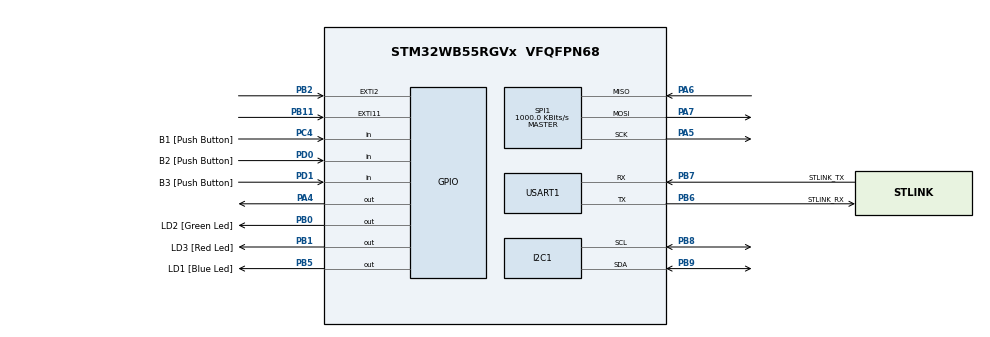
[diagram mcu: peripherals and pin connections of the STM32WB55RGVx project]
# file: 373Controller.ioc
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I2C1.Timing=0x00B07CB4
Mcu.Family=STM32WB
Mcu.Name=STM32WB55RGVx
Mcu.Package=VFQFPN68
NVIC.EXTI15_10_IRQn=true\:2\:0\:true\:false\:true\:true\:true\:true
NVIC.EXTI2_IRQn=true\:2\:0\:true\:false\:true\:true\:true\:true
NVIC.PriorityGroup=NVIC_PRIORITYGROUP_4
NVIC.TIM2_IRQn=true\:4\:0\:true\:false\:true\:true\:true\:true
OSC_IN.GPIO_Label=RCC_OSC_IN
OSC_IN.Signal=RCC_OSC_IN
OSC_OUT.GPIO_Label=RCC_OSC_OUT
OSC_OUT.Signal=RCC_OSC_OUT
PA11.GPIO_Label=USB_DM
PA11.Signal=USB_DM
PA12.GPIO_Label=USB_DP
PA12.Signal=USB_DP
PA13.GPIO_Label=JTMS
PA13.Signal=SYS_JTMS-SWDIO
PA14.GPIO_Label=JTCK
PA14.Signal=SYS_JTCK-SWCLK
PA4.PinState=GPIO_PIN_SET
PA4.Signal=GPIO_Output
PA5.Mode=Full_Duplex_Master
PA5.Signal=SPI1_SCK
PA6.Mode=Full_Duplex_Master
PA6.Signal=SPI1_MISO
PA7.Mode=Full_Duplex_Master
PA7.Signal=SPI1_MOSI
PB0.GPIO_Label=LD2 [Green Led]
PB0.Signal=GPIO_Output
PB1.GPIO_Label=LD3 [Red Led]
PB1.Signal=GPIO_Output
PB11.GPIO_ModeDefaultEXTI=GPIO_MODE_IT_RISING_FALLING
PB11.GPIO_PuPd=GPIO_PULLUP
PB11.Signal=GPXTI11
PB2.GPIO_ModeDefaultEXTI=GPIO_MODE_IT_RISING_FALLING
PB2.GPIO_PuPd=GPIO_PULLUP
PB2.Signal=GPXTI2
PB3.GPIO_Label=JTDO
PB3.Signal=SYS_JTDO-SWO
PB5.GPIO_Label=LD1 [Blue Led]
PB5.Signal=GPIO_Output
PB6.GPIO_Label=STLINK_RX
PB6.Mode=Asynchronous
PB6.Signal=USART1_TX
PB7.GPIO_Label=STLINK_TX
PB7.Mode=Asynchronous
PB7.Signal=USART1_RX
PB8.Mode=I2C
PB8.Signal=I2C1_SCL
PB9.Mode=I2C
PB9.Signal=I2C1_SDA
PC13.GPIO_Label=SYS_WKUP2
PC13.Signal=SYS_WKUP2
PC14-OSC32_IN.GPIO_Label=RCC_OSC32_IN
PC14-OSC32_IN.Signal=RCC_OSC32_IN
PC15-OSC32_OUT.GPIO_Label=RCC_OSC32_OUT
PC15-OSC32_OUT.Signal=RCC_OSC32_OUT
PC4.GPIO_Label=B1 [Push Button]
PC4.Signal=GPIO_Input
PD0.GPIO_Label=B2 [Push Button]
PD0.Signal=GPIO_Input
PD1.GPIO_Label=B3 [Push Button]
PD1.Signal=GPIO_Input
ProjectManager.HeapSize=0x200
ProjectManager.StackSize=0x400
ProjectManager.TargetToolchain=STM32CubeIDE
RCC.ADCFreq_Value=128000000
RCC.AHBFreq_Value=32000000
RCC.APB1Freq_Value=32000000
RCC.APB1TimFreq_Value=32000000
RCC.APB2Freq_Value=32000000
RCC.APB2TimFreq_Value=32000000
RCC.APB3Freq_Value=16000000
RCC.CortexFreq_Value=32000000
RCC.HCLKFreq_Value=32000000
RCC.HSE_VALUE=32000000
RCC.HSI48_VALUE=48000000
RCC.HSI_VALUE=16000000
RCC.LSE_VALUE=32768
RCC.MSIClockRange=RCC_MSIRANGE_10
RCC.SMPSCLockSelection=RCC_SMPSCLKSOURCE_HSI
RCC.SMPSCLockSelectionVirtual=RCC_SMPSCLKSOURCE_HSI
RCC.SMPSCLockSelectionVirtualVirtual=RCC_SMPSCLKSOURCE_HSI
RCC.SMPSDivider=1
RCC.SYSCLKFreq_VALUE=32000000
RCC.USBFreq_Value=128000000
RCC.VCOOutputFreq_Value=256000000
SPI1.BaudRatePrescaler=SPI_BAUDRATEPRESCALER_32
SPI1.CalculateBaudRate=1000.0 KBits/s
SPI1.DataSize=SPI_DATASIZE_8BIT
SPI1.Direction=SPI_DIRECTION_2LINES
SPI1.Mode=SPI_MODE_MASTER
SPI1.VirtualType=VM_MASTER
TIM2.AutoReloadPreload=TIM_AUTORELOAD_PRELOAD_ENABLE
TIM2.Period=99
TIM2.Prescaler=3199
USART1.VirtualMode-Asynchronous=VM_ASYNC
VP_MEMORYMAP_VS_MEMORYMAP.Mode=CurAppReg
VP_TIM2_VS_ClockSourceINT.Mode=Internal
board=NUCLEO-WB55RG

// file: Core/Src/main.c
/* USER CODE BEGIN Header */
/**
  ******************************************************************************
  * @file           : main.c
  * @brief          : Main program body
  ******************************************************************************
  * @attention
  *
  * Copyright (c) 2026 STMicroelectronics.
  * All rights reserved.
  *
  * This software is licensed under terms that can be found in the LICENSE file
  * in the root directory of this software component.
  * If no LICENSE file comes with this software, it is provided AS-IS.
  *
  ******************************************************************************
  */
/* USER CODE END Header */
#include "main.h"

/* USER CODE BEGIN Includes */
#include <stdio.h>
#include <math.h>
#include "MadgwickAHRS.h"
/* USER CODE END Includes */

/* USER CODE BEGIN PTD */
enum State {
	STATE_NONE,
	STATE_INIT,
	STATE_CONNECT,
	STATE_CALIBRATION,
	STATE_MENU,
	STATE_OPERATION
};

typedef struct {
	int16_t x, y, z;
} XYZ;

typedef struct {
	float w,x,y,z;
} Quaternion;
/* USER CODE END PTD */

I2C_HandleTypeDef hi2c1;

SPI_HandleTypeDef hspi1;

TIM_HandleTypeDef htim2;

UART_HandleTypeDef huart1;

/* USER CODE BEGIN PV */

enum State state = STATE_INIT;
enum State prev_state = STATE_NONE;

uint8_t spi1_rx_buffer[100] = {0};
uint8_t spi1_tx_buffer[100] = {0};
Quaternion q;
/* USER CODE END PV */

void SystemClock_Config(void);
void PeriphCommonClock_Config(void);
static void MX_GPIO_Init(void);
static void MX_SPI1_Init(void);
static void MX_USART1_UART_Init(void);
static void MX_TIM2_Init(void);
static void MX_I2C1_Init(void);
/* USER CODE BEGIN PFP */

#define LCD_ADDR  (0x27 << 1)
#define LCD_BL    0x08  // backlight
#define LCD_EN    0x04
#define LCD_RW    0x02
#define LCD_RS    0x01

/* USER CODE END PFP */

/* USER CODE BEGIN 0 */

// - begin bmi

#define SPI1_GPIOX GPIOA
#define SPI1_CS GPIO_PIN_4

void BMI323_Read(uint8_t register_address, uint8_t size) {
	  spi1_tx_buffer[0] = 0x80 | register_address;
	  spi1_tx_buffer[1] = 0;

	  for(int i=0;i<2*size;i++)
		  spi1_tx_buffer[2+i]=0;

	  HAL_GPIO_WritePin(SPI1_GPIOX, SPI1_CS, GPIO_PIN_RESET);
	  HAL_SPI_TransmitReceive(&hspi1, spi1_tx_buffer, spi1_rx_buffer, 2+2*size, 1000);
	  HAL_GPIO_WritePin(SPI1_GPIOX, SPI1_CS, GPIO_PIN_SET);
}

void BMI323_Write(uint8_t register_address, uint8_t size, uint8_t *data) {
	spi1_tx_buffer[0] = register_address;

	for(int i=0;i<size;i++)
	    {
			spi1_tx_buffer[2*i+1]=data[2*i];
			spi1_tx_buffer[2*i+2]=data[2*i+1];
	    }

	HAL_GPIO_WritePin(SPI1_GPIOX, SPI1_CS, GPIO_PIN_RESET);
	HAL_SPI_Transmit(&hspi1, spi1_tx_buffer, 1+2*size, 1000);
	HAL_GPIO_WritePin(SPI1_GPIOX, SPI1_CS, GPIO_PIN_SET);
	HAL_Delay(1);
}

int16_t BMI323_Assemble(uint8_t start) {
	  return spi1_rx_buffer[2*start+2] | (spi1_rx_buffer[2*start+3] << 8);
}

void BMI323_Init() {
	HAL_GPIO_WritePin(SPI1_GPIOX, SPI1_CS, GPIO_PIN_RESET);
	HAL_Delay(1);
	HAL_GPIO_WritePin(SPI1_GPIOX, SPI1_CS, GPIO_PIN_SET);
	HAL_Delay(1); // toggling cs on init switches BMI to SPI mode

	uint8_t reset[2]={0xB6,0x00};

	BMI323_Write(0x7E,1,reset);

	HAL_Delay(20);

	// accel
	uint8_t acc[2]={0x08,0x70};
	BMI323_Write(0x20,1,acc);

	/* gyro  */
	uint8_t gyr[2]={0x18,0x70};
	BMI323_Write(0x21,1,gyr);

	HAL_Delay(500);
}

int BMI323_ConnectionTest() {
	BMI323_Read(0x00, 3);
	uint16_t chip_id = BMI323_Assemble(0) & 0xFF;
	uint16_t s_stat = BMI323_Assemble(2);

	if ((chip_id == 67) && ((s_stat & 0x01) == 0)) {
		return 1;
	}

	return 0;
}

void BMI323_ReadAccel(XYZ *data) {
	BMI323_Read(0x03, 3);
	data->x = (int16_t)BMI323_Assemble(0);
	data->y = (int16_t)BMI323_Assemble(1);
	data->z = (int16_t)BMI323_Assemble(2);
}

void BMI323_ReadGyro(XYZ* data) {
	BMI323_Read(0x06, 3);
	data->x = (int16_t)BMI323_Assemble(0);
	data->y = (int16_t)BMI323_Assemble(1);
	data->z = (int16_t)BMI323_Assemble(2);
}

void BMI323_Quaternion(Quaternion* q) {

	/*
	 * This function implements the Madgwick IMU sensor fusion algorithm,
	 * which is open source and can be obtained for free from:
	 * https://x-io.co.uk/open-source-imu-and-ahrs-algorithms/
	 */

	XYZ accel, gyro;
	BMI323_ReadAccel(&accel);
	BMI323_ReadGyro(&gyro);

	// convert a and g to normalized floats
	float ax = accel.x * (2.0f / 32768.0f);
	float ay = accel.y * (2.0f / 32768.0f);
	float az = accel.z * (2.0f / 32768.0f);

	float gx = gyro.x * (250.0f / 32768.0f) * (M_PI / 180.0f);
	float gy = gyro.y * (250.0f / 32768.0f) * (M_PI / 180.0f);
	float gz = gyro.z * (250.0f / 32768.0f) * (M_PI / 180.0f);

	MadgwickAHRSupdateIMU(gx, gy, gz, ax, ay, az);

	q->w = q0;
	q->x = q1;
	q->y = q2;
	q->z = q3;

}

void HAL_TIM_PeriodElapsedCallback(TIM_HandleTypeDef *htim) {
    if (htim->Instance == TIM2) {
    	BMI323_Quaternion(&q);
    }
}

// - end bmi

// - begin RE

// previous 2-bit state becomes the top 2 bits of the new state!
static volatile int RE_count = 0;
static int RE_prev = 0;

static const int RE_gray[16] = {
		0, -1, 1, 0,
		1, 0, 0, -1,
		-1, 0, 0, 1,
		0, 1, -1, 0
};

void RE_Update() {
	int a = (HAL_GPIO_ReadPin(GPIOB, GPIO_PIN_11) == GPIO_PIN_SET) ? 1 : 0;
	int b = (HAL_GPIO_ReadPin(GPIOB, GPIO_PIN_2) == GPIO_PIN_SET) ? 1 : 0;
	int RE_current = (a << 1) | b;
	int res = RE_gray[(RE_prev << 2) | RE_current];

	RE_count += res;
	RE_prev = RE_current;
}

void HAL_GPIO_EXTI_Callback(uint16_t GPIO_Pin) {
	if (GPIO_Pin == GPIO_PIN_11 || GPIO_Pin == GPIO_PIN_2) {
		RE_Update();
	}
}

// - end RE

// - begin display

static void LCD_write_pcf(uint8_t data)
{
    HAL_I2C_Master_Transmit(&hi2c1, LCD_ADDR, &data, 1, HAL_MAX_DELAY);
}

static void LCD_pulse_en(uint8_t data)
{
    LCD_write_pcf(data | LCD_EN);
    HAL_Delay(1);
    LCD_write_pcf(data & ~LCD_EN);
    HAL_Delay(1);
}

static void LCD_write_nibble(uint8_t data, uint8_t rs)
{
    uint8_t nibble = (data & 0xF0) | LCD_BL | rs;
    LCD_pulse_en(nibble);
}

/* sends a full byte as two nibbles */
static void LCD_send(uint8_t data, uint8_t rs)
{
    LCD_write_nibble(data,        rs);  // high nibble
    LCD_write_nibble(data << 4,   rs);  // low nibble
}

#define LCD_cmd(b)   LCD_send((b), 0x00)
#define LCD_data(b)  LCD_send((b), LCD_RS)

/* ── init ─────────────────────────────────────────────────── */

void LCD_init(void)
{
    HAL_Delay(50);                      // wait for LCD power-on

    // reset sequence:send 0x3 nibble three times to ensure 8-bit mode
    LCD_write_nibble(0x30, 0);  HAL_Delay(5);
    LCD_write_nibble(0x30, 0);  HAL_Delay(1);
    LCD_write_nibble(0x30, 0);  HAL_Delay(1);

    // switch to 4-bit mode
    LCD_write_nibble(0x20, 0);  HAL_Delay(1);

    // from here, full bytes as two nibbles
    LCD_cmd(0x28);   // function set:  4-bit | 2 lines | 5x8
    LCD_cmd(0x0C);   // display on, cursor off, blink off
    LCD_cmd(0x06);   // entry mode: increment, no shift
    LCD_cmd(0x01);   // clear display
    HAL_Delay(2);    // clear needs >1.5ms
}

void LCD_set_cursor(uint8_t col, uint8_t row)
{
    uint8_t row_offsets[] = {0x00, 0x40, 0x14, 0x54};  // was missing rows 2 and 3
    LCD_cmd(0x80 | (col + row_offsets[row]));
}

void LCD_print(const char *str)
{
    while (*str)
        LCD_data((uint8_t)*str++);
}

void LCD_Clear() {
	LCD_cmd(0x01);   // clear display
	HAL_Delay(2);    // clear needs >1.5ms
}

// - end display

// - begin SM

// - end SM

/* USER CODE END 0 */

int main(void)
{

  /* MCU Configuration--------------------------------------------------------*/

  /* Reset of all peripherals, Initializes the Flash interface and the Systick. */
  HAL_Init();

  /* Configure the system clock */
  SystemClock_Config();

  /* Configure the peripherals common clocks */
  PeriphCommonClock_Config();

  /* Initialize all configured peripherals */
  MX_GPIO_Init();
  MX_SPI1_Init();
  MX_USART1_UART_Init();
  MX_TIM2_Init();
  MX_I2C1_Init();
  /* USER CODE BEGIN 2 */

  BMI323_Init();
  int test = BMI323_ConnectionTest();
  while (test == 0) {
	  HAL_Delay(5);
	  test = BMI323_ConnectionTest();
  }

  uint32_t t1;
  t1 = HAL_GetTick();

  HAL_TIM_Base_Start_IT(&htim2);

  LCD_init();
  LCD_set_cursor(0, 0);
  LCD_print("Hello!");

  /* USER CODE END 2 */

  /* Infinite loop */
  while (1)
  {

    /* USER CODE BEGIN 3 */

	  if (HAL_GetTick() - t1 >= 1000) {

	          t1 = HAL_GetTick();
	          printf("q: %.4f %.4f %.4f %.4f\r\n", q0, q1, q2, q3);

	          char buffer[21];

              LCD_set_cursor(0, 0);
              sprintf(buffer, "w: %.4f", q0);
              LCD_print(buffer);

              LCD_set_cursor(0, 1);
              sprintf(buffer, "x: %.4f", q1);
              LCD_print(buffer);

              LCD_set_cursor(0, 2);
              sprintf(buffer, "y: %.4f", q2);
              LCD_print(buffer);

              LCD_set_cursor(0, 3);
              sprintf(buffer, "z: %.4f", q3);
              LCD_print(buffer);

              LCD_set_cursor(12, 2);
              sprintf(buffer, "count:");
              LCD_print(buffer);

              LCD_set_cursor(12, 3);
              sprintf(buffer, "%d", RE_count);
              LCD_print(buffer);

	  }

	  prev_state = state;
  }
  /* USER CODE END 3 */
}

void SystemClock_Config(void)
{
  RCC_OscInitTypeDef RCC_OscInitStruct = {0};
  RCC_ClkInitTypeDef RCC_ClkInitStruct = {0};

  /** Configure the main internal regulator output voltage
  */
  __HAL_PWR_VOLTAGESCALING_CONFIG(PWR_REGULATOR_VOLTAGE_SCALE1);

  /** Initializes the RCC Oscillators according to the specified parameters
  * in the RCC_OscInitTypeDef structure.
  */
  RCC_OscInitStruct.OscillatorType = RCC_OSCILLATORTYPE_HSI|RCC_OSCILLATORTYPE_MSI;
  RCC_OscInitStruct.HSIState = RCC_HSI_ON;
  RCC_OscInitStruct.MSIState = RCC_MSI_ON;
  RCC_OscInitStruct.HSICalibrationValue = RCC_HSICALIBRATION_DEFAULT;
  RCC_OscInitStruct.MSICalibrationValue = RCC_MSICALIBRATION_DEFAULT;
  RCC_OscInitStruct.MSIClockRange = RCC_MSIRANGE_10;
  RCC_OscInitStruct.PLL.PLLState = RCC_PLL_NONE;
  if (HAL_RCC_OscConfig(&RCC_OscInitStruct) != HAL_OK)
  {
    Error_Handler();
  }

  /** Configure the SYSCLKSource, HCLK, PCLK1 and PCLK2 clocks dividers
  */
  RCC_ClkInitStruct.ClockType = RCC_CLOCKTYPE_HCLK4|RCC_CLOCKTYPE_HCLK2
                              |RCC_CLOCKTYPE_HCLK|RCC_CLOCKTYPE_SYSCLK
                              |RCC_CLOCKTYPE_PCLK1|RCC_CLOCKTYPE_PCLK2;
  RCC_ClkInitStruct.SYSCLKSource = RCC_SYSCLKSOURCE_MSI;
  RCC_ClkInitStruct.AHBCLKDivider = RCC_SYSCLK_DIV1;
  RCC_ClkInitStruct.APB1CLKDivider = RCC_HCLK_DIV1;
  RCC_ClkInitStruct.APB2CLKDivider = RCC_HCLK_DIV1;
  RCC_ClkInitStruct.AHBCLK2Divider = RCC_SYSCLK_DIV1;
  RCC_ClkInitStruct.AHBCLK4Divider = RCC_SYSCLK_DIV1;

  if (HAL_RCC_ClockConfig(&RCC_ClkInitStruct, FLASH_LATENCY_1) != HAL_OK)
  {
    Error_Handler();
  }
}

void PeriphCommonClock_Config(void)
{
  RCC_PeriphCLKInitTypeDef PeriphClkInitStruct = {0};

  /** Initializes the peripherals clock
  */
  PeriphClkInitStruct.PeriphClockSelection = RCC_PERIPHCLK_SMPS;
  PeriphClkInitStruct.SmpsClockSelection = RCC_SMPSCLKSOURCE_HSI;
  PeriphClkInitStruct.SmpsDivSelection = RCC_SMPSCLKDIV_RANGE0;

  if (HAL_RCCEx_PeriphCLKConfig(&PeriphClkInitStruct) != HAL_OK)
  {
    Error_Handler();
  }
}

static void MX_I2C1_Init(void)
{

  hi2c1.Instance = I2C1;
  hi2c1.Init.Timing = 0x00B07CB4;
  hi2c1.Init.OwnAddress1 = 0;
  hi2c1.Init.AddressingMode = I2C_ADDRESSINGMODE_7BIT;
  hi2c1.Init.DualAddressMode = I2C_DUALADDRESS_DISABLE;
  hi2c1.Init.OwnAddress2 = 0;
  hi2c1.Init.OwnAddress2Masks = I2C_OA2_NOMASK;
  hi2c1.Init.GeneralCallMode = I2C_GENERALCALL_DISABLE;
  hi2c1.Init.NoStretchMode = I2C_NOSTRETCH_DISABLE;
  if (HAL_I2C_Init(&hi2c1) != HAL_OK)
  {
    Error_Handler();
  }

  /** Configure Analogue filter
  */
  if (HAL_I2CEx_ConfigAnalogFilter(&hi2c1, I2C_ANALOGFILTER_ENABLE) != HAL_OK)
  {
    Error_Handler();
  }

  /** Configure Digital filter
  */
  if (HAL_I2CEx_ConfigDigitalFilter(&hi2c1, 0) != HAL_OK)
  {
    Error_Handler();
  }

}

static void MX_SPI1_Init(void)
{

  /* SPI1 parameter configuration*/
  hspi1.Instance = SPI1;
  hspi1.Init.Mode = SPI_MODE_MASTER;
  hspi1.Init.Direction = SPI_DIRECTION_2LINES;
  hspi1.Init.DataSize = SPI_DATASIZE_8BIT;
  hspi1.Init.CLKPolarity = SPI_POLARITY_LOW;
  hspi1.Init.CLKPhase = SPI_PHASE_1EDGE;
  hspi1.Init.NSS = SPI_NSS_SOFT;
  hspi1.Init.BaudRatePrescaler = SPI_BAUDRATEPRESCALER_32;
  hspi1.Init.FirstBit = SPI_FIRSTBIT_MSB;
  hspi1.Init.TIMode = SPI_TIMODE_DISABLE;
  hspi1.Init.CRCCalculation = SPI_CRCCALCULATION_DISABLE;
  hspi1.Init.CRCPolynomial = 7;
  hspi1.Init.CRCLength = SPI_CRC_LENGTH_DATASIZE;
  hspi1.Init.NSSPMode = SPI_NSS_PULSE_ENABLE;
  if (HAL_SPI_Init(&hspi1) != HAL_OK)
  {
    Error_Handler();
  }

}

static void MX_TIM2_Init(void)
{

  TIM_ClockConfigTypeDef sClockSourceConfig = {0};
  TIM_MasterConfigTypeDef sMasterConfig = {0};

  htim2.Instance = TIM2;
  htim2.Init.Prescaler = 3199;
  htim2.Init.CounterMode = TIM_COUNTERMODE_UP;
  htim2.Init.Period = 99;
  htim2.Init.ClockDivision = TIM_CLOCKDIVISION_DIV1;
  htim2.Init.AutoReloadPreload = TIM_AUTORELOAD_PRELOAD_ENABLE;
  if (HAL_TIM_Base_Init(&htim2) != HAL_OK)
  {
    Error_Handler();
  }
  sClockSourceConfig.ClockSource = TIM_CLOCKSOURCE_INTERNAL;
  if (HAL_TIM_ConfigClockSource(&htim2, &sClockSourceConfig) != HAL_OK)
  {
    Error_Handler();
  }
  sMasterConfig.MasterOutputTrigger = TIM_TRGO_RESET;
  sMasterConfig.MasterSlaveMode = TIM_MASTERSLAVEMODE_DISABLE;
  if (HAL_TIMEx_MasterConfigSynchronization(&htim2, &sMasterConfig) != HAL_OK)
  {
    Error_Handler();
  }

}

static void MX_USART1_UART_Init(void)
{

  huart1.Instance = USART1;
  huart1.Init.BaudRate = 115200;
  huart1.Init.WordLength = UART_WORDLENGTH_8B;
  huart1.Init.StopBits = UART_STOPBITS_1;
  huart1.Init.Parity = UART_PARITY_NONE;
  huart1.Init.Mode = UART_MODE_TX_RX;
  huart1.Init.HwFlowCtl = UART_HWCONTROL_NONE;
  huart1.Init.OverSampling = UART_OVERSAMPLING_16;
  huart1.Init.OneBitSampling = UART_ONE_BIT_SAMPLE_DISABLE;
  huart1.Init.ClockPrescaler = UART_PRESCALER_DIV1;
  huart1.AdvancedInit.AdvFeatureInit = UART_ADVFEATURE_NO_INIT;
  if (HAL_UART_Init(&huart1) != HAL_OK)
  {
    Error_Handler();
  }
  if (HAL_UARTEx_SetTxFifoThreshold(&huart1, UART_TXFIFO_THRESHOLD_1_8) != HAL_OK)
  {
    Error_Handler();
  }
  if (HAL_UARTEx_SetRxFifoThreshold(&huart1, UART_RXFIFO_THRESHOLD_1_8) != HAL_OK)
  {
    Error_Handler();
  }
  if (HAL_UARTEx_DisableFifoMode(&huart1) != HAL_OK)
  {
    Error_Handler();
  }

}

static void MX_GPIO_Init(void)
{
  GPIO_InitTypeDef GPIO_InitStruct = {0};

  /* GPIO Ports Clock Enable */
  __HAL_RCC_GPIOC_CLK_ENABLE();
  __HAL_RCC_GPIOB_CLK_ENABLE();
  __HAL_RCC_GPIOA_CLK_ENABLE();
  __HAL_RCC_GPIOD_CLK_ENABLE();

  /*Configure GPIO pin Output Level */
  HAL_GPIO_WritePin(GPIOA, GPIO_PIN_4, GPIO_PIN_SET);

  /*Configure GPIO pin Output Level */
  HAL_GPIO_WritePin(GPIOB, LD2_Pin|LD3_Pin|LD1_Pin, GPIO_PIN_RESET);

  /*Configure GPIO pin : PA4 */
  GPIO_InitStruct.Pin = GPIO_PIN_4;
  GPIO_InitStruct.Mode = GPIO_MODE_OUTPUT_PP;
  GPIO_InitStruct.Pull = GPIO_NOPULL;
  GPIO_InitStruct.Speed = GPIO_SPEED_FREQ_LOW;
  HAL_GPIO_Init(GPIOA, &GPIO_InitStruct);

  /*Configure GPIO pin : B1_Pin */
  GPIO_InitStruct.Pin = B1_Pin;
  GPIO_InitStruct.Mode = GPIO_MODE_INPUT;
  GPIO_InitStruct.Pull = GPIO_NOPULL;
  HAL_GPIO_Init(B1_GPIO_Port, &GPIO_InitStruct);

  /*Configure GPIO pins : PB2 PB11 */
  GPIO_InitStruct.Pin = GPIO_PIN_2|GPIO_PIN_11;
  GPIO_InitStruct.Mode = GPIO_MODE_IT_RISING_FALLING;
  GPIO_InitStruct.Pull = GPIO_PULLUP;
  HAL_GPIO_Init(GPIOB, &GPIO_InitStruct);

  /*Configure GPIO pins : LD2_Pin LD3_Pin LD1_Pin */
  GPIO_InitStruct.Pin = LD2_Pin|LD3_Pin|LD1_Pin;
  GPIO_InitStruct.Mode = GPIO_MODE_OUTPUT_PP;
  GPIO_InitStruct.Pull = GPIO_NOPULL;
  GPIO_InitStruct.Speed = GPIO_SPEED_FREQ_LOW;
  HAL_GPIO_Init(GPIOB, &GPIO_InitStruct);

  /*Configure GPIO pins : USB_DM_Pin USB_DP_Pin */
  GPIO_InitStruct.Pin = USB_DM_Pin|USB_DP_Pin;
  GPIO_InitStruct.Mode = GPIO_MODE_AF_PP;
  GPIO_InitStruct.Pull = GPIO_NOPULL;
  GPIO_InitStruct.Speed = GPIO_SPEED_FREQ_LOW;
  GPIO_InitStruct.Alternate = GPIO_AF10_USB;
  HAL_GPIO_Init(GPIOA, &GPIO_InitStruct);

  /*Configure GPIO pins : B2_Pin B3_Pin */
  GPIO_InitStruct.Pin = B2_Pin|B3_Pin;
  GPIO_InitStruct.Mode = GPIO_MODE_INPUT;
  GPIO_InitStruct.Pull = GPIO_NOPULL;
  HAL_GPIO_Init(GPIOD, &GPIO_InitStruct);

  /* EXTI interrupt init*/
  HAL_NVIC_SetPriority(EXTI2_IRQn, 2, 0);
  HAL_NVIC_EnableIRQ(EXTI2_IRQn);

  HAL_NVIC_SetPriority(EXTI15_10_IRQn, 2, 0);
  HAL_NVIC_EnableIRQ(EXTI15_10_IRQn);

}

/* USER CODE BEGIN 4 */

#ifdef __GNUC__
#define PUTCHAR_PROTOTYPE int __io_putchar(int ch)
#else
  #define PUTCHAR_PROTOTYPE int fputc(int ch, FILE *f)
#endif /* __GNUC__ */
PUTCHAR_PROTOTYPE
{
  HAL_UART_Transmit(&huart1, (uint8_t *)&ch, 1, 0xFFFF);
  return ch;
}

/* USER CODE END 4 */

void Error_Handler(void)
{
  __disable_irq();
  while (1)
  {
  }
}
